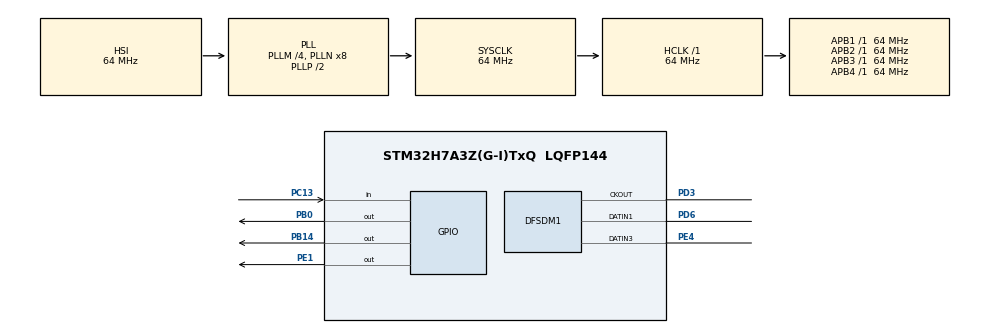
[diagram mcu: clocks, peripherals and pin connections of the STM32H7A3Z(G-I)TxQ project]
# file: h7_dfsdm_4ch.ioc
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CORTEX_M7.default_mode_Activation=1
DFSDM1.Divider=20
DFSDM1.FastMode_reg_FIL0=ENABLE
DFSDM1.FastMode_reg_FIL1=ENABLE
DFSDM1.FastMode_reg_FIL2=ENABLE
DFSDM1.FastMode_reg_FIL3=ENABLE
DFSDM1.Filter_regChannel_FIL0=DFSDM_CHANNEL_0
DFSDM1.Filter_regChannel_FIL1=DFSDM_CHANNEL_1
DFSDM1.Filter_regChannel_FIL2=DFSDM_CHANNEL_2
DFSDM1.Filter_regChannel_FIL3=DFSDM_CHANNEL_3
DFSDM1.Fosr_FIL0=64
DFSDM1.Fosr_FIL1=64
DFSDM1.Fosr_FIL2=64
DFSDM1.Fosr_FIL3=64
DFSDM1.SincOrder_FIL0=DFSDM_FILTER_SINC3_ORDER
DFSDM1.SincOrder_FIL1=DFSDM_FILTER_SINC3_ORDER
DFSDM1.SincOrder_FIL2=DFSDM_FILTER_SINC3_ORDER
DFSDM1.SincOrder_FIL3=DFSDM_FILTER_SINC3_ORDER
DFSDM1.Trigger_reg_FIL1=DFSDM_FILTER_SYNC_TRIGGER
DFSDM1.Trigger_reg_FIL2=DFSDM_FILTER_SYNC_TRIGGER
DFSDM1.Trigger_reg_FIL3=DFSDM_FILTER_SYNC_TRIGGER
DFSDM1.Type_spi_CH1=DFSDM_CHANNEL_SPI_FALLING
DFSDM1.Type_spi_CH2=DFSDM_CHANNEL_SPI_RISING
DFSDM1.Type_spi_CH3=DFSDM_CHANNEL_SPI_FALLING
Mcu.Family=STM32H7
Mcu.Name=STM32H7A3Z(G-I)TxQ
Mcu.Package=LQFP144
NUCLEO-H7A3ZI-Q.BUTTON=1
NUCLEO-H7A3ZI-Q.LD1=true
NUCLEO-H7A3ZI-Q.LD2=true
NUCLEO-H7A3ZI-Q.LD3=true
NUCLEO-H7A3ZI-Q.VCP=true
NVIC.EXTI15_10_IRQn=true\:0\:0\:false\:false\:true\:false\:true\:true
NVIC.PriorityGroup=NVIC_PRIORITYGROUP_4
PB0.Signal=GPIO_Output
PB14.Signal=GPIO_Output
PC13.Signal=GPIO_Input
PC14-OSC32_IN.GPIO_Label=OSC32_IN
PC14-OSC32_IN.Signal=RCC_OSC32_IN
PC15-OSC32_OUT.GPIO_Label=OSC32_OUT
PC15-OSC32_OUT.Signal=RCC_OSC32_OUT
PD3.Signal=S_CKOUTDFSDM1
PD6.Signal=S_DATAIN1DFSDM1
PD8.Signal=USART3_TX
PD9.Signal=USART3_RX
PE1.Signal=GPIO_Output
PE4.Signal=S_DATAIN3DFSDM1
PH0-OSC_IN.GPIO_Label=PH0-MCU
PH0-OSC_IN.Signal=RCC_OSC_IN
PH1-OSC_OUT.GPIO_Label=PH1-MCU
PH1-OSC_OUT.Signal=RCC_OSC_OUT
ProjectManager.HeapSize=0x200
ProjectManager.StackSize=0x400
ProjectManager.TargetToolchain=STM32CubeIDE
RCC.ADCFreq_Value=129000000
RCC.APB1Freq_Value=64000000
RCC.APB2Freq_Value=64000000
RCC.APB3Freq_Value=64000000
RCC.APB4Freq_Value=64000000
RCC.CortexFreq_Value=64000000
RCC.DIVM1=4
RCC.DIVM3=1
RCC.DIVN1=8
RCC.DIVN3=24
RCC.DIVQ1=4
RCC.HCLKFreq_Value=64000000
RCC.HSE_VALUE=8000000
RCC.PLLFRACN=0
RCC.PWR_Regulator_Voltage_Scale=PWR_REGULATOR_VOLTAGE_SCALE0
RCC.SYSCLKFreq_VALUE=64000000
RCC.SYSCLKSource=RCC_SYSCLKSOURCE_PLLCLK
RCC.SupplySource=PWR_DIRECT_SMPS_SUPPLY
RCC.USBCLockSelection=RCC_USBCLKSOURCE_HSI48
RCC.USBFreq_Value=48000000
SH.S_CKOUTDFSDM1.0=DFSDM1_CKOUT,PDM_SPI_Input_from_ch23_and_Internal_Clock
SH.S_CKOUTDFSDM1.1=DFSDM1_CKOUT,PDM_SPI_input_from_ch3_and_internal_clock
SH.S_CKOUTDFSDM1.2=DFSDM1_CKOUT,PDM_SPI_Input_from_ch01_and_Internal_Clock
SH.S_CKOUTDFSDM1.3=DFSDM1_CKOUT,PDM_SPI_input_from_ch1_and_internal_clock
SH.S_DATAIN1DFSDM1.0=DFSDM1_DATIN1,PDM_SPI_Input_from_ch01_and_Internal_Clock
SH.S_DATAIN1DFSDM1.1=DFSDM1_DATIN1,PDM_SPI_input_from_ch1_and_internal_clock
SH.S_DATAIN3DFSDM1.0=DFSDM1_DATIN3,PDM_SPI_Input_from_ch23_and_Internal_Clock
SH.S_DATAIN3DFSDM1.1=DFSDM1_DATIN3,PDM_SPI_input_from_ch3_and_internal_clock
VP_MEMORYMAP_VS_MEMORYMAP.Mode=CurAppReg
VP_NUCLEO-H7A3ZI-Q_VS_BSP_COMMON.Mode=COMMON
board=NUCLEO-H7A3ZI-Q

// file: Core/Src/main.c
/* USER CODE BEGIN Header */
/**
  ******************************************************************************
  * @file           : main.c
  * @brief          : Main program body
  ******************************************************************************
  * @attention
  *
  * Copyright (c) 2026 STMicroelectronics.
  * All rights reserved.
  *
  * This software is licensed under terms that can be found in the LICENSE file
  * in the root directory of this software component.
  * If no LICENSE file comes with this software, it is provided AS-IS.
  *
  ******************************************************************************
  */
/* USER CODE END Header */
#include "main.h"

/* USER CODE BEGIN Includes */
#include <stdio.h>
#include <string.h>
/* USER CODE END Includes */

COM_InitTypeDef BspCOMInit;

DFSDM_Filter_HandleTypeDef hdfsdm1_filter0;
DFSDM_Filter_HandleTypeDef hdfsdm1_filter1;
DFSDM_Filter_HandleTypeDef hdfsdm1_filter2;
DFSDM_Filter_HandleTypeDef hdfsdm1_filter3;
DFSDM_Channel_HandleTypeDef hdfsdm1_channel0;
DFSDM_Channel_HandleTypeDef hdfsdm1_channel1;
DFSDM_Channel_HandleTypeDef hdfsdm1_channel2;
DFSDM_Channel_HandleTypeDef hdfsdm1_channel3;

/* USER CODE BEGIN PV */
#define N_CH      4         /* number of mics / マイクの数 */
#define N_SAMPLES 2500      /* samples per channel (50 ms at 50 kHz) / 1chあたりのサンプル数 */
#define N_SKIP    250       /* discard the first 5 ms (settling) / 最初の5 msは捨てる */
static int32_t buf[N_SAMPLES][N_CH];   /* buf[i][0]=A, [1]=B, [2]=C, [3]=D */

/* Filters in channel order / フィルタをチャネル順に並べた表 */
static DFSDM_Filter_HandleTypeDef *const filters[N_CH] = {
  &hdfsdm1_filter0, &hdfsdm1_filter1, &hdfsdm1_filter2, &hdfsdm1_filter3
};
/* USER CODE END PV */

void SystemClock_Config(void);
static void MPU_Config(void);
static void MX_GPIO_Init(void);
static void MX_DFSDM1_Init(void);

/* USER CODE BEGIN 0 */
/**
 * Send a text string to the PC over the ST-LINK virtual COM port.
 * 文字列をST-LINKの仮想COMポート経由でPCへ送る。
 */
static void send_text(const char *s)
{
  HAL_UART_Transmit(&hcom_uart[COM1], (uint8_t *)s, strlen(s), 100);
}

/** Stop all filters. / 全フィルタを止める。 */
static void stop_all(void)
{
  for (int c = 0; c < N_CH; c++) HAL_DFSDM_FilterRegularStop(filters[c]);
}

/**
 * Capture four mics at the same time and send "a,b,c,d" lines to the PC.
 * Conditions: Filters 1-3 are "Synchronous with DFSDM0", so all four start and
 *             finish each conversion together. We wait for Filter 0 only,
 *             then read all four values at once.
 * Expected: START, 2500 lines of "a,b,c,d", END.
 * マイク4個を同時に取り込み、「a,b,c,d」の行でPCへ送る。
 * 条件：Filter1〜3は「Filter0と同期」なので、4つは同時に変換を終える。
 *       Filter0の完了だけを待ち、4つの値をまとめて読む。
 * 期待結果：START、「a,b,c,d」が2500行、END。
 */
static void capture_and_send(void)
{
  uint32_t ch;
  char line[64];

  /* 1. Arm Filters 3,2,1 first (they wait), then start Filter 0.
        先にFilter3・2・1を待機させ、最後にFilter0を開始 → 4つが同時に動き出す */
  for (int c = N_CH - 1; c >= 0; c--) HAL_DFSDM_FilterRegularStart(filters[c]);

  /* 2. Capture. Samples before N_SKIP are read and thrown away.
        取り込み。N_SKIPより前のサンプルは読んで捨てる */
  for (int i = -N_SKIP; i < N_SAMPLES; i++) {
    if (HAL_DFSDM_FilterPollForRegConversion(filters[0], 10) != HAL_OK) {
      stop_all();
      send_text("ERROR timeout\r\n");
      return;
    }
    for (int c = 0; c < N_CH; c++) {
      int32_t v = HAL_DFSDM_FilterGetRegularValue(filters[c], &ch);
      if (i >= 0) buf[i][c] = v;
    }
  }
  stop_all();

  /* 3. Send to PC (about 7 s) / PCへ送る（約7秒） */
  send_text("START\r\n");
  for (int i = 0; i < N_SAMPLES; i++) {
    snprintf(line, sizeof(line), "%ld,%ld,%ld,%ld\r\n",
             (long)buf[i][0], (long)buf[i][1], (long)buf[i][2], (long)buf[i][3]);
    send_text(line);
  }
  send_text("END\r\n");
}
/* USER CODE END 0 */

int main(void)
{

  /* MPU Configuration--------------------------------------------------------*/
  MPU_Config();

  /* MCU Configuration--------------------------------------------------------*/

  /* Reset of all peripherals, Initializes the Flash interface and the Systick. */
  HAL_Init();

  /* Configure the system clock */
  SystemClock_Config();

  /* Initialize all configured peripherals */
  MX_GPIO_Init();
  MX_DFSDM1_Init();

  /* Initialize leds */
  BSP_LED_Init(LED_GREEN);
  BSP_LED_Init(LED_YELLOW);
  BSP_LED_Init(LED_RED);

  /* Initialize USER push-button, will be used to trigger an interrupt each time it's pressed.*/
  BSP_PB_Init(BUTTON_USER, BUTTON_MODE_EXTI);

  /* Initialize COM1 port (115200, 8 bits (7-bit data + 1 stop bit), no parity */
  BspCOMInit.BaudRate   = 115200;
  BspCOMInit.WordLength = COM_WORDLENGTH_8B;
  BspCOMInit.StopBits   = COM_STOPBITS_1;
  BspCOMInit.Parity     = COM_PARITY_NONE;
  BspCOMInit.HwFlowCtl  = COM_HWCONTROL_NONE;
  if (BSP_COM_Init(COM1, &BspCOMInit) != BSP_ERROR_NONE)
  {
    Error_Handler();
  }

  /* Infinite loop */
  while (1)
  {

    /* USER CODE BEGIN 3 */
	    if (BSP_PB_GetState(BUTTON_USER) == 1) {
	      BSP_LED_On(LED_YELLOW);
	      capture_and_send();
	      BSP_LED_Off(LED_YELLOW);
	      while (BSP_PB_GetState(BUTTON_USER) == 1) { }
	    }
  }
  /* USER CODE END 3 */
}

void SystemClock_Config(void)
{
  RCC_OscInitTypeDef RCC_OscInitStruct = {0};
  RCC_ClkInitTypeDef RCC_ClkInitStruct = {0};

  /*AXI clock gating */
  RCC->CKGAENR = 0xFFFFFFFF;

  /** Supply configuration update enable
  */
  HAL_PWREx_ConfigSupply(PWR_DIRECT_SMPS_SUPPLY);

  /** Configure the main internal regulator output voltage
  */
  __HAL_PWR_VOLTAGESCALING_CONFIG(PWR_REGULATOR_VOLTAGE_SCALE0);

  while(!__HAL_PWR_GET_FLAG(PWR_FLAG_VOSRDY)) {}

  /** Initializes the RCC Oscillators according to the specified parameters
  * in the RCC_OscInitTypeDef structure.
  */
  RCC_OscInitStruct.OscillatorType = RCC_OSCILLATORTYPE_HSI;
  RCC_OscInitStruct.HSIState = RCC_HSI_DIV1;
  RCC_OscInitStruct.HSICalibrationValue = 64;
  RCC_OscInitStruct.PLL.PLLState = RCC_PLL_ON;
  RCC_OscInitStruct.PLL.PLLSource = RCC_PLLSOURCE_HSI;
  RCC_OscInitStruct.PLL.PLLM = 4;
  RCC_OscInitStruct.PLL.PLLN = 8;
  RCC_OscInitStruct.PLL.PLLP = 2;
  RCC_OscInitStruct.PLL.PLLQ = 4;
  RCC_OscInitStruct.PLL.PLLR = 2;
  RCC_OscInitStruct.PLL.PLLRGE = RCC_PLL1VCIRANGE_3;
  RCC_OscInitStruct.PLL.PLLVCOSEL = RCC_PLL1VCOWIDE;
  RCC_OscInitStruct.PLL.PLLFRACN = 0;
  if (HAL_RCC_OscConfig(&RCC_OscInitStruct) != HAL_OK)
  {
    Error_Handler();
  }

  /** Initializes the CPU, AHB and APB buses clocks
  */
  RCC_ClkInitStruct.ClockType = RCC_CLOCKTYPE_HCLK|RCC_CLOCKTYPE_SYSCLK
                              |RCC_CLOCKTYPE_PCLK1|RCC_CLOCKTYPE_PCLK2
                              |RCC_CLOCKTYPE_D3PCLK1|RCC_CLOCKTYPE_D1PCLK1;
  RCC_ClkInitStruct.SYSCLKSource = RCC_SYSCLKSOURCE_PLLCLK;
  RCC_ClkInitStruct.SYSCLKDivider = RCC_SYSCLK_DIV1;
  RCC_ClkInitStruct.AHBCLKDivider = RCC_HCLK_DIV1;
  RCC_ClkInitStruct.APB3CLKDivider = RCC_APB3_DIV1;
  RCC_ClkInitStruct.APB1CLKDivider = RCC_APB1_DIV1;
  RCC_ClkInitStruct.APB2CLKDivider = RCC_APB2_DIV1;
  RCC_ClkInitStruct.APB4CLKDivider = RCC_APB4_DIV1;

  if (HAL_RCC_ClockConfig(&RCC_ClkInitStruct, FLASH_LATENCY_1) != HAL_OK)
  {
    Error_Handler();
  }
}

static void MX_DFSDM1_Init(void)
{

  hdfsdm1_filter0.Instance = DFSDM1_Filter0;
  hdfsdm1_filter0.Init.RegularParam.Trigger = DFSDM_FILTER_SW_TRIGGER;
  hdfsdm1_filter0.Init.RegularParam.FastMode = ENABLE;
  hdfsdm1_filter0.Init.RegularParam.DmaMode = DISABLE;
  hdfsdm1_filter0.Init.FilterParam.SincOrder = DFSDM_FILTER_SINC3_ORDER;
  hdfsdm1_filter0.Init.FilterParam.Oversampling = 64;
  hdfsdm1_filter0.Init.FilterParam.IntOversampling = 1;
  if (HAL_DFSDM_FilterInit(&hdfsdm1_filter0) != HAL_OK)
  {
    Error_Handler();
  }
  hdfsdm1_filter1.Instance = DFSDM1_Filter1;
  hdfsdm1_filter1.Init.RegularParam.Trigger = DFSDM_FILTER_SYNC_TRIGGER;
  hdfsdm1_filter1.Init.RegularParam.FastMode = ENABLE;
  hdfsdm1_filter1.Init.RegularParam.DmaMode = DISABLE;
  hdfsdm1_filter1.Init.FilterParam.SincOrder = DFSDM_FILTER_SINC3_ORDER;
  hdfsdm1_filter1.Init.FilterParam.Oversampling = 64;
  hdfsdm1_filter1.Init.FilterParam.IntOversampling = 1;
  if (HAL_DFSDM_FilterInit(&hdfsdm1_filter1) != HAL_OK)
  {
    Error_Handler();
  }
  hdfsdm1_filter2.Instance = DFSDM1_Filter2;
  hdfsdm1_filter2.Init.RegularParam.Trigger = DFSDM_FILTER_SYNC_TRIGGER;
  hdfsdm1_filter2.Init.RegularParam.FastMode = ENABLE;
  hdfsdm1_filter2.Init.RegularParam.DmaMode = DISABLE;
  hdfsdm1_filter2.Init.FilterParam.SincOrder = DFSDM_FILTER_SINC3_ORDER;
  hdfsdm1_filter2.Init.FilterParam.Oversampling = 64;
  hdfsdm1_filter2.Init.FilterParam.IntOversampling = 1;
  if (HAL_DFSDM_FilterInit(&hdfsdm1_filter2) != HAL_OK)
  {
    Error_Handler();
  }
  hdfsdm1_filter3.Instance = DFSDM1_Filter3;
  hdfsdm1_filter3.Init.RegularParam.Trigger = DFSDM_FILTER_SYNC_TRIGGER;
  hdfsdm1_filter3.Init.RegularParam.FastMode = ENABLE;
  hdfsdm1_filter3.Init.RegularParam.DmaMode = DISABLE;
  hdfsdm1_filter3.Init.FilterParam.SincOrder = DFSDM_FILTER_SINC3_ORDER;
  hdfsdm1_filter3.Init.FilterParam.Oversampling = 64;
  hdfsdm1_filter3.Init.FilterParam.IntOversampling = 1;
  if (HAL_DFSDM_FilterInit(&hdfsdm1_filter3) != HAL_OK)
  {
    Error_Handler();
  }
  hdfsdm1_channel0.Instance = DFSDM1_Channel0;
  hdfsdm1_channel0.Init.OutputClock.Activation = ENABLE;
  hdfsdm1_channel0.Init.OutputClock.Selection = DFSDM_CHANNEL_OUTPUT_CLOCK_SYSTEM;
  hdfsdm1_channel0.Init.OutputClock.Divider = 20;
  hdfsdm1_channel0.Init.Input.Multiplexer = DFSDM_CHANNEL_EXTERNAL_INPUTS;
  hdfsdm1_channel0.Init.Input.DataPacking = DFSDM_CHANNEL_STANDARD_MODE;
  hdfsdm1_channel0.Init.Input.Pins = DFSDM_CHANNEL_FOLLOWING_CHANNEL_PINS;
  hdfsdm1_channel0.Init.SerialInterface.Type = DFSDM_CHANNEL_SPI_RISING;
  hdfsdm1_channel0.Init.SerialInterface.SpiClock = DFSDM_CHANNEL_SPI_CLOCK_INTERNAL;
  hdfsdm1_channel0.Init.Awd.FilterOrder = DFSDM_CHANNEL_FASTSINC_ORDER;
  hdfsdm1_channel0.Init.Awd.Oversampling = 1;
  hdfsdm1_channel0.Init.Offset = 0;
  hdfsdm1_channel0.Init.RightBitShift = 0x00;
  if (HAL_DFSDM_ChannelInit(&hdfsdm1_channel0) != HAL_OK)
  {
    Error_Handler();
  }
  hdfsdm1_channel1.Instance = DFSDM1_Channel1;
  hdfsdm1_channel1.Init.OutputClock.Activation = ENABLE;
  hdfsdm1_channel1.Init.OutputClock.Selection = DFSDM_CHANNEL_OUTPUT_CLOCK_SYSTEM;
  hdfsdm1_channel1.Init.OutputClock.Divider = 20;
  hdfsdm1_channel1.Init.Input.Multiplexer = DFSDM_CHANNEL_EXTERNAL_INPUTS;
  hdfsdm1_channel1.Init.Input.DataPacking = DFSDM_CHANNEL_STANDARD_MODE;
  hdfsdm1_channel1.Init.Input.Pins = DFSDM_CHANNEL_SAME_CHANNEL_PINS;
  hdfsdm1_channel1.Init.SerialInterface.Type = DFSDM_CHANNEL_SPI_FALLING;
  hdfsdm1_channel1.Init.SerialInterface.SpiClock = DFSDM_CHANNEL_SPI_CLOCK_INTERNAL;
  hdfsdm1_channel1.Init.Awd.FilterOrder = DFSDM_CHANNEL_FASTSINC_ORDER;
  hdfsdm1_channel1.Init.Awd.Oversampling = 1;
  hdfsdm1_channel1.Init.Offset = 0;
  hdfsdm1_channel1.Init.RightBitShift = 0x00;
  if (HAL_DFSDM_ChannelInit(&hdfsdm1_channel1) != HAL_OK)
  {
    Error_Handler();
  }
  hdfsdm1_channel2.Instance = DFSDM1_Channel2;
  hdfsdm1_channel2.Init.OutputClock.Activation = ENABLE;
  hdfsdm1_channel2.Init.OutputClock.Selection = DFSDM_CHANNEL_OUTPUT_CLOCK_SYSTEM;
  hdfsdm1_channel2.Init.OutputClock.Divider = 20;
  hdfsdm1_channel2.Init.Input.Multiplexer = DFSDM_CHANNEL_EXTERNAL_INPUTS;
  hdfsdm1_channel2.Init.Input.DataPacking = DFSDM_CHANNEL_STANDARD_MODE;
  hdfsdm1_channel2.Init.Input.Pins = DFSDM_CHANNEL_FOLLOWING_CHANNEL_PINS;
  hdfsdm1_channel2.Init.SerialInterface.Type = DFSDM_CHANNEL_SPI_RISING;
  hdfsdm1_channel2.Init.SerialInterface.SpiClock = DFSDM_CHANNEL_SPI_CLOCK_INTERNAL;
  hdfsdm1_channel2.Init.Awd.FilterOrder = DFSDM_CHANNEL_FASTSINC_ORDER;
  hdfsdm1_channel2.Init.Awd.Oversampling = 1;
  hdfsdm1_channel2.Init.Offset = 0;
  hdfsdm1_channel2.Init.RightBitShift = 0x00;
  if (HAL_DFSDM_ChannelInit(&hdfsdm1_channel2) != HAL_OK)
  {
    Error_Handler();
  }
  hdfsdm1_channel3.Instance = DFSDM1_Channel3;
  hdfsdm1_channel3.Init.OutputClock.Activation = ENABLE;
  hdfsdm1_channel3.Init.OutputClock.Selection = DFSDM_CHANNEL_OUTPUT_CLOCK_SYSTEM;
  hdfsdm1_channel3.Init.OutputClock.Divider = 20;
  hdfsdm1_channel3.Init.Input.Multiplexer = DFSDM_CHANNEL_EXTERNAL_INPUTS;
  hdfsdm1_channel3.Init.Input.DataPacking = DFSDM_CHANNEL_STANDARD_MODE;
  hdfsdm1_channel3.Init.Input.Pins = DFSDM_CHANNEL_SAME_CHANNEL_PINS;
  hdfsdm1_channel3.Init.SerialInterface.Type = DFSDM_CHANNEL_SPI_FALLING;
  hdfsdm1_channel3.Init.SerialInterface.SpiClock = DFSDM_CHANNEL_SPI_CLOCK_INTERNAL;
  hdfsdm1_channel3.Init.Awd.FilterOrder = DFSDM_CHANNEL_FASTSINC_ORDER;
  hdfsdm1_channel3.Init.Awd.Oversampling = 1;
  hdfsdm1_channel3.Init.Offset = 0;
  hdfsdm1_channel3.Init.RightBitShift = 0x00;
  if (HAL_DFSDM_ChannelInit(&hdfsdm1_channel3) != HAL_OK)
  {
    Error_Handler();
  }
  if (HAL_DFSDM_FilterConfigRegChannel(&hdfsdm1_filter0, DFSDM_CHANNEL_0, DFSDM_CONTINUOUS_CONV_ON) != HAL_OK)
  {
    Error_Handler();
  }
  if (HAL_DFSDM_FilterConfigRegChannel(&hdfsdm1_filter1, DFSDM_CHANNEL_1, DFSDM_CONTINUOUS_CONV_ON) != HAL_OK)
  {
    Error_Handler();
  }
  if (HAL_DFSDM_FilterConfigRegChannel(&hdfsdm1_filter2, DFSDM_CHANNEL_2, DFSDM_CONTINUOUS_CONV_ON) != HAL_OK)
  {
    Error_Handler();
  }
  if (HAL_DFSDM_FilterConfigRegChannel(&hdfsdm1_filter3, DFSDM_CHANNEL_3, DFSDM_CONTINUOUS_CONV_ON) != HAL_OK)
  {
    Error_Handler();
  }

}

static void MX_GPIO_Init(void)
{

  /* GPIO Ports Clock Enable */
  __HAL_RCC_GPIOE_CLK_ENABLE();
  __HAL_RCC_GPIOC_CLK_ENABLE();
  __HAL_RCC_GPIOH_CLK_ENABLE();
  __HAL_RCC_GPIOD_CLK_ENABLE();

}

 /* MPU Configuration */

void MPU_Config(void)
{
  MPU_Region_InitTypeDef MPU_InitStruct = {0};

  /* Disables the MPU */
  HAL_MPU_Disable();

  /** Initializes and configures the Region and the memory to be protected
  */
  MPU_InitStruct.Enable = MPU_REGION_ENABLE;
  MPU_InitStruct.Number = MPU_REGION_NUMBER0;
  MPU_InitStruct.BaseAddress = 0x0;
  MPU_InitStruct.Size = MPU_REGION_SIZE_4GB;
  MPU_InitStruct.SubRegionDisable = 0x87;
  MPU_InitStruct.TypeExtField = MPU_TEX_LEVEL0;
  MPU_InitStruct.AccessPermission = MPU_REGION_NO_ACCESS;
  MPU_InitStruct.DisableExec = MPU_INSTRUCTION_ACCESS_DISABLE;
  MPU_InitStruct.IsShareable = MPU_ACCESS_SHAREABLE;
  MPU_InitStruct.IsCacheable = MPU_ACCESS_NOT_CACHEABLE;
  MPU_InitStruct.IsBufferable = MPU_ACCESS_NOT_BUFFERABLE;

  HAL_MPU_ConfigRegion(&MPU_InitStruct);
  /* Enables the MPU */
  HAL_MPU_Enable(MPU_PRIVILEGED_DEFAULT);

}

void Error_Handler(void)
{
  __disable_irq();
  while (1)
  {
  }
}
